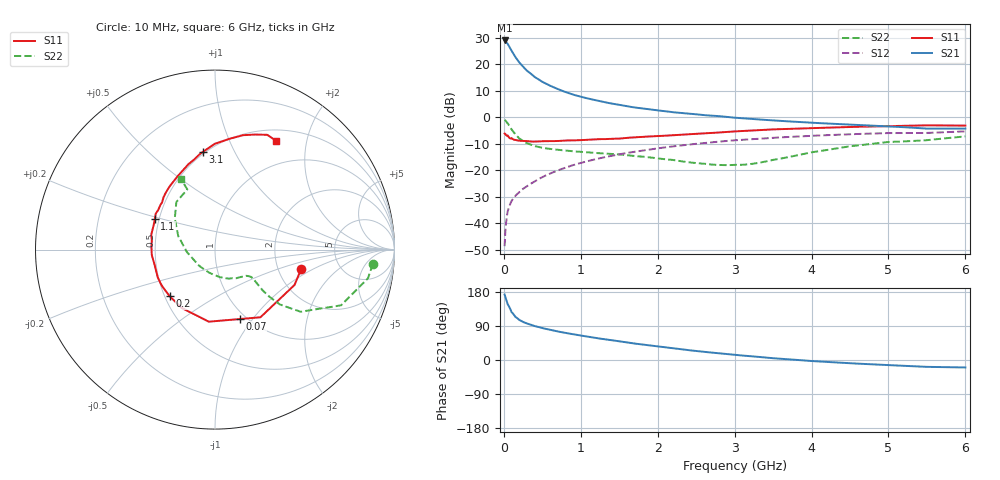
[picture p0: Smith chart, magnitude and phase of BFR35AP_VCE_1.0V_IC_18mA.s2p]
! Infineon Technologies  Discrete & RF Semiconductors
! BFR35AP
! VCE =  1.0 V,  IC =  18 mA
! Common Emitter S-Parameters:  Nov 2015
# GHz  S  MA  R  50
!  f  S11  S21  S12  S22
! GHz  MAG  ANG  MAG  ANG  MAG  ANG  MAG  ANG
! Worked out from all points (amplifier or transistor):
!   210 points, 10 MHz to 6 GHz, reference 50 ohm
!   highest |S21| = 29.0 dB at 10 MHz (marker M1)
!   |S21| within 3 dB of that: start of sweep to 82.77 MHz
!   unconditionally stable (mu >= 1): 230.6 MHz to end of sweep
!   at 185 MHz: K = 0.91, MSG = 25.0 dB, |S12| = -28.7 dB
!   at 1.52 GHz: K = 1.28, MAG = 6.0 dB, |S12| = -13.9 dB
!   at 6 GHz: K = 1.09, MAG = -1.3 dB, |S12| = -5.3 dB
!   S11 on the Smith chart (normalised r, x): 10 MHz: 2.70, -0.75; 70 MHz: 0.93, -0.87; 200 MHz: 0.53, -0.32; 1.1 GHz: 0.47, +0.19; 3.1 GHz: 0.49, +0.76; 6 GHz: 0.64, +1.51
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0.01  0.4926 -12.4  28.03 172.6  0.0037 83.1  0.8834 -5.2
0.02  0.4848 -24.0  27.48 165.5  0.0073 76.5  0.8671 -10.6
0.05  0.4542 -56.1  24.24 147.1  0.0168 69.6  0.7684 -23.8
0.07  0.4108 -70.3  21.43 140.3  0.0206 65.4  0.6933 -27.9
0.1  0.4031 -94.9  18.01 126.5  0.0264 61.4  0.5894 -36.0
0.14  0.3744 -114.4  14.43 116.9  0.0317 59.9  0.4965 -39.2
0.15  0.3745 -119.5  13.61 113.8  0.033 59.6  0.4736 -40.2
0.2  0.3622 -134.1  10.81 105.9  0.0384 60.6  0.3988 -40.9
0.26  0.3573 -147.5  8.628 99.5  0.0457 61.7  0.347 -40.5
0.3  0.3546 -154.0  7.546 96.0  0.05 62.6  0.3247 -39.8
0.4  0.3473 -166.9  5.747 89.6  0.0614 64.5  0.286 -38.2
0.5  0.3534 -175.0  4.649 84.1  0.0741 65.9  0.2639 -37.1
0.7  0.3555 171.9  3.402 75.3  0.0989 66.2  0.2431 -37.8
0.9  0.3654 161.5  2.666 67.8  0.1249 65.1  0.2276 -39.8
1.02  0.3708 156.1  2.392 63.9  0.1398 64.3  0.2217 -41.9
1.1  0.3768 152.8  2.241 61.3  0.1499 63.6  0.2176 -43.7
1.6  0.4087 134.6  1.609 46.2  0.2119 57.7  0.1917 -56.4
2.02  0.4419 122.2  1.336 35.2  0.2613 52.1  0.1659 -71.8
3.1  0.5487 97.0  0.956 11.8  0.3751 36.0  0.1268 -144.4
4.1  0.6285 81.3  0.774 -3.8  0.4528 21.4  0.229 155.6
5.1  0.6832 69.7  0.662 -14.4  0.5023 7.4  0.3451 126.1
6  0.695 60.8  0.611 -19.7  0.5404 -2.3  0.4348 115.7
